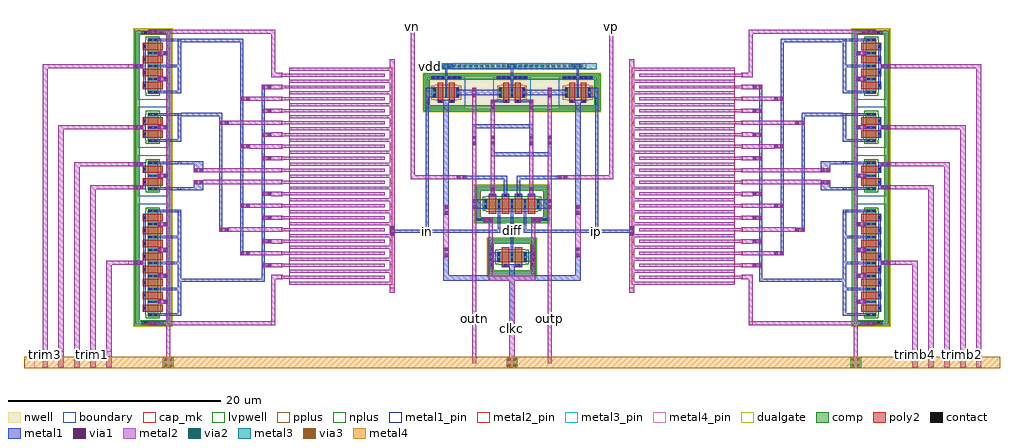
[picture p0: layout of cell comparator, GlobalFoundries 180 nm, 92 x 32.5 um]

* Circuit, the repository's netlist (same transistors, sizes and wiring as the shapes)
* NGSPICE file created from comparator.ext - technology: gf180mcuD

.subckt XMdiff_cmp G D S a_n424_n324#
X0 S G D a_n424_n324# nfet_06v0 ad=0.44p pd=2.88u as=0.26p ps=1.52u w=1u l=0.7u
X1 D G S a_n424_n324# nfet_06v0 ad=0.26p pd=1.52u as=0.44p ps=2.88u w=1u l=0.7u
.ends

.subckt XM3_trims a_n2052_n100# a_n2668_n324# a_n1808_n100# a_n1948_n183# a_n1564_n100#
+ a_n2524_n100# a_n1704_n183# a_n2296_n100# a_n2192_n183# a_n2436_n183#
X0 a_n2052_n100# a_n2192_n183# a_n2296_n100# a_n2668_n324# nfet_06v0 ad=0.26p pd=1.52u as=0.26p ps=1.52u w=1u l=0.7u
X1 a_n1564_n100# a_n1704_n183# a_n1808_n100# a_n2668_n324# nfet_06v0 ad=0.44p pd=2.88u as=0.26p ps=1.52u w=1u l=0.7u
X2 a_n1808_n100# a_n1948_n183# a_n2052_n100# a_n2668_n324# nfet_06v0 ad=0.26p pd=1.52u as=0.26p ps=1.52u w=1u l=0.7u
X3 a_n2296_n100# a_n2436_n183# a_n2524_n100# a_n2668_n324# nfet_06v0 ad=0.26p pd=1.52u as=0.44p ps=2.88u w=1u l=0.7u
.ends

.subckt XM2_trims a_n4456_n324# a_n3948_n183# a_n3808_n100# a_n4280_n100# a_n4052_n100#
+ a_n4192_n183# a_n4456_252#
X0 a_n4052_n100# a_n4192_n183# a_n4280_n100# a_n4456_n324# nfet_06v0 ad=0.26p pd=1.52u as=0.44p ps=2.88u w=1u l=0.7u
X1 a_n3808_n100# a_n3948_n183# a_n4052_n100# a_n4456_n324# nfet_06v0 ad=0.44p pd=2.88u as=0.26p ps=1.52u w=1u l=0.7u
.ends

.subckt XM1_trims G D a_n5302_n324# S a_n5302_252#
X0 D G S a_n5302_n324# nfet_06v0 ad=0.44p pd=2.88u as=0.44p ps=2.88u w=1u l=0.7u
.ends

.subckt XM4_trims a_436_n100# a_192_n100# a_n1188_n324# a_n296_n100# a_784_n183# a_n192_n183#
+ a_n436_n183# a_540_n183# a_n52_n100# a_924_n100# a_680_n100# a_n1012_n100# a_n784_n100#
+ a_n924_n183# a_n680_n183# a_n540_n100# a_296_n183# a_52_n183#
X0 a_436_n100# a_296_n183# a_192_n100# a_n1188_n324# nfet_06v0 ad=0.26p pd=1.52u as=0.26p ps=1.52u w=1u l=0.7u
X1 a_n784_n100# a_n924_n183# a_n1012_n100# a_n1188_n324# nfet_06v0 ad=0.26p pd=1.52u as=0.44p ps=2.88u w=1u l=0.7u
X2 a_192_n100# a_52_n183# a_n52_n100# a_n1188_n324# nfet_06v0 ad=0.26p pd=1.52u as=0.26p ps=1.52u w=1u l=0.7u
X3 a_680_n100# a_540_n183# a_436_n100# a_n1188_n324# nfet_06v0 ad=0.26p pd=1.52u as=0.26p ps=1.52u w=1u l=0.7u
X4 a_924_n100# a_784_n183# a_680_n100# a_n1188_n324# nfet_06v0 ad=0.44p pd=2.88u as=0.26p ps=1.52u w=1u l=0.7u
X5 a_n52_n100# a_n192_n183# a_n296_n100# a_n1188_n324# nfet_06v0 ad=0.26p pd=1.52u as=0.26p ps=1.52u w=1u l=0.7u
X6 a_n296_n100# a_n436_n183# a_n540_n100# a_n1188_n324# nfet_06v0 ad=0.26p pd=1.52u as=0.26p ps=1.52u w=1u l=0.7u
X7 a_n540_n100# a_n680_n183# a_n784_n100# a_n1188_n324# nfet_06v0 ad=0.26p pd=1.52u as=0.26p ps=1.52u w=1u l=0.7u
.ends

.subckt XM0_trims G D a_n5334_252# a_n5334_n324# S
X0 S G D a_n5334_n324# nfet_06v0 ad=0.44p pd=2.88u as=0.44p ps=2.88u w=1u l=0.7u
.ends

.subckt trim_switch d_0 d_4 d_1 d_2 d_3 n1 n4 n0 n2 n3 temp
XXM3_trims_0 n3 temp temp d_3 n3 n3 d_3 temp d_3 d_3 XM3_trims
XXM2_trims_0 temp d_2 n2 n2 temp d_2 temp XM2_trims
XXM1_trims_0 d_1 n1 temp temp temp XM1_trims
XXM4_trims_0 n4 temp temp temp d_4 d_4 d_4 d_4 n4 n4 temp n4 temp d_4 d_4 n4 d_4 d_4
+ XM4_trims
XXM0_trims_0 d_0 n0 temp temp temp XM0_trims
.ends

.subckt trim d_0 d_4 d_1 d_2 d_3 n1 n4 n0 n2 n3 drain vss
Xtrim_switch_0 d_0 d_4 d_1 d_2 d_3 n1 n4 n0 n2 n3 vss trim_switch
.ends

.subckt XMinp_cmp G D a_n302_n324# a_n302_252# S
X0 D G S a_n302_n324# nfet_06v0 ad=0.44p pd=2.88u as=0.44p ps=2.88u w=1u l=0.7u
.ends

.subckt XM4_cmp G D w_n319_n356# S
X0 D G S w_n319_n356# pfet_06v0 ad=0.44p pd=2.88u as=0.44p ps=2.88u w=1u l=0.55u
.ends

.subckt XMl4_cmp G D w_n319_n356# S
X0 D G S w_n319_n356# pfet_06v0 ad=0.44p pd=2.88u as=0.44p ps=2.88u w=1u l=0.55u
.ends

.subckt XMinn_cmp G D a_n302_n324# a_n302_252# S
X0 D G S a_n302_n324# nfet_06v0 ad=0.44p pd=2.88u as=0.44p ps=2.88u w=1u l=0.7u
.ends

.subckt XMl3_cmp G D w_n319_n356# S
X0 D G S w_n319_n356# pfet_06v0 ad=0.44p pd=2.88u as=0.44p ps=2.88u w=1u l=0.55u
.ends

.subckt XM3_cmp G D w_n319_n356# S
X0 D G S w_n319_n356# pfet_06v0 ad=0.44p pd=2.88u as=0.44p ps=2.88u w=1u l=0.55u
.ends

.subckt XMl2_cmp G D a_n302_n324# S
X0 D G S a_n302_n324# nfet_06v0 ad=0.44p pd=2.88u as=0.44p ps=2.88u w=1u l=0.7u
.ends

.subckt XM2_cmp G D w_n319_n356# S
X0 D G S w_n319_n356# pfet_06v0 ad=0.44p pd=2.88u as=0.44p ps=2.88u w=1u l=0.55u
.ends

.subckt XM1_cmp G D w_n319_n356# S
X0 D G S w_n319_n356# pfet_06v0 ad=0.44p pd=2.88u as=0.44p ps=2.88u w=1u l=0.55u
.ends

.subckt XMl1_cmp G D a_n302_n324# S
X0 D G S a_n302_n324# nfet_06v0 ad=0.44p pd=2.88u as=0.44p ps=2.88u w=1u l=0.7u
.ends

.subckt comparator trim1 trim0 trim2 trim3 trim4 trimb4 trimb1 trimb0 trimb2 trimb3
+ vp vn outp outn diff in ip clkc vss vdd
XXMdiff_cmp_0 clkc diff vss vss XMdiff_cmp
Xtrim_0 trimb0 trimb4 trimb1 trimb2 trimb3 trim_0/n1 trim_0/n4 trim_0/n0 trim_0/n2
+ trim_0/n3 ip vss trim
Xtrim_1 trim0 trim4 trim1 trim2 trim3 trim_1/n1 trim_1/n4 trim_1/n0 trim_1/n2 trim_1/n3
+ in vss trim
XXMinp_cmp_0 vp ip vss vss diff XMinp_cmp
XXM4_cmp_0 clkc ip vdd vdd XM4_cmp
XXMl4_cmp_0 outn outp vdd vdd XMl4_cmp
XXMinn_cmp_0 vn in vss vss diff XMinn_cmp
XXMl3_cmp_0 outp outn vdd vdd XMl3_cmp
XXM3_cmp_0 clkc outp vdd vdd XM3_cmp
XXMl2_cmp_0 outn outp vss ip XMl2_cmp
XXM2_cmp_0 clkc outn vdd vdd XM2_cmp
XXM1_cmp_0 clkc in vdd vdd XM1_cmp
XXMl1_cmp_0 outp outn vss in XMl1_cmp
.ends

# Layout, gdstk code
from math import pi, radians
import gdstk
lib = gdstk.Library(unit=1e-6, precision=1e-09)
def R(c, l, rs):  # rectangles x0, y0, x1, y1
    for r in rs: c.add(gdstk.rectangle(r[:2], r[2:], *l))
def A(c, l, x, y, w, h, nx, ny, dx, dy):  # array of equal rectangles
    R(c, l, [(x+i*dx, y+j*dy, x+i*dx+w, y+j*dy+h) for i in range(nx) for j in range(ny)])
boundary = (0, 0)
nwell = (21, 0)
comp = (22, 0)
poly2 = (30, 0)
pplus = (31, 0)
nplus = (32, 0)
contact = (33, 0)
metal1 = (34, 0)
metal1_pin = (34, 10)
via1 = (35, 0)
metal2 = (36, 0)
metal2_pin = (36, 10)
via2 = (38, 0)
via3 = (40, 0)
metal3 = (42, 0)
metal3_pin = (42, 10)
metal4 = (46, 0)
metal4_pin = (46, 10)
dualgate = (55, 0)
cap_mk = (117, 5)
lvpwell = (204, 0)

xmdiff_cmp = lib.new_cell('XMdiff_cmp')
R(xmdiff_cmp, boundary, [(-1.94,-1.44,1.94,1.44)])
R(xmdiff_cmp, comp, [(-2.12,-1.62,2.12,-1.26), (-2.12,-1.26,-1.76,1.26), (1.76,-1.26,2.12,1.26), (-1.4,-0.5,1.4,0.5), (-2.12,1.26,2.12,1.62)])
R(xmdiff_cmp, poly2, [(-0.96,-0.915,-0.26,0.96), (0.26,-0.915,0.96,0.96)])
R(xmdiff_cmp, pplus, [(-2.14,-1.64,2.14,-1.24), (-2.14,-1.24,-1.73,-1.135), (1.73,-1.24,2.14,-1.135), (-2.15,-1.135,-1.73,1.135), (1.73,-1.135,2.15,1.135), (-2.14,1.135,-1.73,1.24), (1.73,1.135,2.14,1.24), (-2.14,1.24,2.14,1.64)])
R(xmdiff_cmp, nplus, [(-1.19,-0.73,1.19,-0.66), (-1.56,-0.66,1.56,0.66), (-1.19,0.66,1.19,0.73)])
A(xmdiff_cmp, contact, -2.05, -0.815, 0.22, 0.22, 1, 4, 0, 0.47)
A(xmdiff_cmp, contact, 1.83, -0.815, 0.22, 0.22, 1, 4, 0, 0.47)
A(xmdiff_cmp, contact, -1.33, -0.345, 0.22, 0.22, 3, 2, 1.22, 0.47)
R(xmdiff_cmp, contact, [(-0.72,0.67,-0.5,0.89), (0.5,0.67,0.72,0.89)])
A(xmdiff_cmp, metal1, -1.335, -0.435, 0.23, 0.87, 3, 1, 1.22, 0)
R(xmdiff_cmp, metal1, [(-2.055,-1.04,-1.825,1.04), (1.825,-1.04,2.055,1.04), (-0.95,0.665,-0.27,0.895), (-0.95,0.665,0.95,0.895), (0.27,0.665,0.95,0.895)])
R(xmdiff_cmp, dualgate, [(-2.36,-1.86,2.36,1.86)])
R(xmdiff_cmp, lvpwell, [(-2.28,-1.78,2.28,1.78)])
xmdiff_cmp.add(gdstk.Label('G', (0,0.77), layer=34, texttype=10))
xmdiff_cmp.add(gdstk.Label('D', (-0.005,0), layer=34, texttype=10))
xmdiff_cmp.add(gdstk.Label('S', (-1.22,0.015), layer=34, texttype=10))
xmdiff_cmp.add(gdstk.Label('S', (1.22,-0.005), layer=34, texttype=10))

xml1_cmp = lib.new_cell('XMl1_cmp')
R(xml1_cmp, boundary, [(-1.33,-1.44,1.33,1.44)])
R(xml1_cmp, comp, [(-1.51,-1.62,1.51,-1.26), (1.15,-1.26,1.51,1.26), (-0.79,-0.5,0.79,0.5), (-1.51,1.26,1.51,1.62)])
R(xml1_cmp, poly2, [(-0.35,-0.915,0.35,0.96)])
R(xml1_cmp, pplus, [(-1.025,-1.65,1.025,-1.64), (-1.53,-1.64,1.53,-1.23), (1.13,-1.23,1.53,1.24), (-1.53,1.24,1.53,1.64)])
R(xml1_cmp, nplus, [(-0.61,-0.73,0.58,-0.66), (-0.95,-0.66,0.95,0.66), (-0.61,0.66,0.58,0.73)])
A(xml1_cmp, contact, 0.225, -1.55, 0.22, 0.22, 3, 1, 0.47, 0)
R(xml1_cmp, contact, [(-0.72,-0.345,-0.5,-0.125), (0.5,-0.345,0.72,-0.125), (-0.72,0.125,-0.5,0.345), (0.5,0.125,0.72,0.345), (-0.11,0.67,0.11,0.89)])
R(xml1_cmp, metal1, [(0,-1.555,1.5,-1.325), (-0.725,-0.435,-0.495,0.435), (0.495,-0.435,0.725,0.435), (-0.34,0.665,0.34,0.895)])
R(xml1_cmp, dualgate, [(-1.75,-1.86,1.75,1.86)])
R(xml1_cmp, lvpwell, [(-1.67,-1.78,1.67,1.78)])
xml1_cmp.add(gdstk.Label('D', (0.6,0), layer=34, texttype=0))
xml1_cmp.add(gdstk.Label('S', (-0.6,0), layer=34, texttype=0))
xml1_cmp.add(gdstk.Label('G', (0,0), layer=30, texttype=10))

xminn_cmp = lib.new_cell('XMinn_cmp')
R(xminn_cmp, boundary, [(-1.33,-1.44,1.33,1.44)])
R(xminn_cmp, comp, [(-1.51,-1.62,1.51,-1.26), (-0.79,-0.5,0.79,0.5), (-1.51,1.26,1.51,1.62)])
R(xminn_cmp, poly2, [(-0.35,-0.915,0.35,0.96)])
R(xminn_cmp, pplus, [(-1.025,-1.65,1.025,-1.64), (-1.53,-1.64,1.53,-1.23), (-1.53,1.24,1.53,1.64)])
R(xminn_cmp, nplus, [(-0.61,-0.73,0.61,-0.66), (-0.95,-0.66,0.95,0.66), (-0.61,0.66,0.61,0.73)])
R(xminn_cmp, contact, [(-0.72,-0.345,-0.5,-0.125), (0.5,-0.345,0.72,-0.125), (-0.72,0.125,-0.5,0.345), (0.5,0.125,0.72,0.345), (-0.11,0.67,0.11,0.89)])
R(xminn_cmp, metal1, [(-0.725,-0.435,-0.495,0.435), (0.495,-0.435,0.725,0.435), (-0.34,0.665,0.34,0.895)])
R(xminn_cmp, dualgate, [(-1.75,-1.86,1.75,1.86)])
R(xminn_cmp, lvpwell, [(-1.67,-1.78,1.67,1.78)])
xminn_cmp.add(gdstk.Label('D', (0.6,0), layer=34, texttype=0))
xminn_cmp.add(gdstk.Label('S', (-0.6,0), layer=34, texttype=0))
xminn_cmp.add(gdstk.Label('G', (0,0), layer=30, texttype=10))

xminp_cmp = lib.new_cell('XMinp_cmp')
R(xminp_cmp, boundary, [(-1.33,-1.44,1.33,1.44)])
R(xminp_cmp, comp, [(-1.51,-1.62,1.51,-1.26), (-0.79,-0.5,0.79,0.5), (-1.51,1.26,1.51,1.62)])
R(xminp_cmp, poly2, [(-0.35,-0.915,0.35,0.96)])
R(xminp_cmp, pplus, [(-1.025,-1.65,1.025,-1.64), (-1.53,-1.64,1.53,-1.23), (-1.53,1.24,1.53,1.64)])
R(xminp_cmp, nplus, [(-0.61,-0.73,0.61,-0.66), (-0.95,-0.66,0.95,0.66), (-0.61,0.66,0.61,0.73)])
R(xminp_cmp, contact, [(-0.72,-0.345,-0.5,-0.125), (0.5,-0.345,0.72,-0.125), (-0.72,0.125,-0.5,0.345), (0.5,0.125,0.72,0.345), (-0.11,0.67,0.11,0.89)])
R(xminp_cmp, metal1, [(-0.725,-0.435,-0.495,0.435), (0.495,-0.435,0.725,0.435), (-0.34,0.665,0.34,0.895)])
R(xminp_cmp, dualgate, [(-1.75,-1.86,1.75,1.86)])
R(xminp_cmp, lvpwell, [(-1.67,-1.78,1.67,1.78)])
xminp_cmp.add(gdstk.Label('D', (0.6,0), layer=34, texttype=0))
xminp_cmp.add(gdstk.Label('S', (-0.6,0), layer=34, texttype=0))
xminp_cmp.add(gdstk.Label('G', (0,0), layer=30, texttype=10))

xml2_cmp = lib.new_cell('XMl2_cmp')
R(xml2_cmp, boundary, [(-1.33,-1.44,1.33,1.44)])
R(xml2_cmp, comp, [(-1.51,-1.62,1.51,-1.26), (1.15,-1.26,1.51,1.26), (-0.79,-0.5,0.79,0.5), (-1.51,1.26,1.51,1.62)])
R(xml2_cmp, poly2, [(-0.35,-0.915,0.35,0.96)])
R(xml2_cmp, pplus, [(-1.025,-1.65,1.025,-1.64), (-1.53,-1.64,1.53,-1.23), (1.13,-1.23,1.53,1.24), (-1.53,1.24,1.53,1.64)])
R(xml2_cmp, nplus, [(-0.61,-0.73,0.58,-0.66), (-0.95,-0.66,0.95,0.66), (-0.61,0.66,0.58,0.73)])
A(xml2_cmp, contact, 0.225, -1.55, 0.22, 0.22, 3, 1, 0.47, 0)
R(xml2_cmp, contact, [(-0.72,-0.345,-0.5,-0.125), (0.5,-0.345,0.72,-0.125), (-0.72,0.125,-0.5,0.345), (0.5,0.125,0.72,0.345), (-0.11,0.67,0.11,0.89)])
R(xml2_cmp, metal1, [(0,-1.555,1.5,-1.325), (-0.725,-0.435,-0.495,0.435), (0.495,-0.435,0.725,0.435), (-0.34,0.665,0.34,0.895)])
R(xml2_cmp, dualgate, [(-1.75,-1.86,1.75,1.86)])
R(xml2_cmp, lvpwell, [(-1.67,-1.78,1.67,1.78)])
xml2_cmp.add(gdstk.Label('D', (0.6,0), layer=34, texttype=0))
xml2_cmp.add(gdstk.Label('S', (-0.6,0), layer=34, texttype=0))
xml2_cmp.add(gdstk.Label('G', (0,0), layer=30, texttype=10))

xml3_cmp = lib.new_cell('XMl3_cmp')
R(xml3_cmp, boundary, [(-1.255,-1.44,1.255,1.44)])
R(xml3_cmp, nwell, [(-1.595,-1.78,3.125,1.78)])
R(xml3_cmp, comp, [(-1.435,-1.62,2.965,-1.26), (-0.715,-0.5,0.715,0.5), (-1.435,1.26,2.965,1.62)])
R(xml3_cmp, poly2, [(-0.275,-0.915,0.275,0.96)])
R(xml3_cmp, pplus, [(-0.535,-0.73,0.505,-0.66), (-0.875,-0.66,0.875,0.66), (-0.535,0.66,0.505,0.73)])
R(xml3_cmp, nplus, [(-1.595,-1.78,3.125,-1.19), (-1.595,1.19,3.125,1.78)])
A(xml3_cmp, contact, -0.345, -1.55, 0.22, 0.22, 3, 1, 0.47, 0)
R(xml3_cmp, contact, [(-0.645,-0.345,-0.425,-0.125), (0.425,-0.345,0.645,-0.125), (-0.645,0.125,-0.425,0.345), (0.425,0.125,0.645,0.345), (-0.11,0.67,0.11,0.89)])
R(xml3_cmp, metal1, [(-0.9,-1.555,0.9,-1.325), (-0.65,-0.435,-0.42,0.435), (0.42,-0.435,0.65,0.435), (-0.265,0.665,0.265,0.895)])
R(xml3_cmp, dualgate, [(-1.675,-1.86,3.205,1.86)])
xml3_cmp.add(gdstk.Label('D', (0.6,0), layer=34, texttype=0))
xml3_cmp.add(gdstk.Label('S', (-0.6,0), layer=34, texttype=0))
xml3_cmp.add(gdstk.Label('G', (0,0), layer=30, texttype=10))

xm3_cmp = lib.new_cell('XM3_cmp')
R(xm3_cmp, boundary, [(-1.255,-1.44,1.255,1.44)])
R(xm3_cmp, nwell, [(-1.595,-1.78,3.125,1.78)])
R(xm3_cmp, comp, [(-1.435,-1.62,2.965,-1.26), (-0.715,-0.5,0.715,0.5), (-1.435,1.26,2.965,1.62)])
R(xm3_cmp, poly2, [(-0.275,-0.915,0.275,0.96)])
R(xm3_cmp, pplus, [(-0.535,-0.73,0.505,-0.66), (-0.875,-0.66,0.875,0.66), (-0.535,0.66,0.505,0.73)])
R(xm3_cmp, nplus, [(-1.595,-1.78,3.125,-1.19), (-1.595,1.19,3.125,1.78)])
A(xm3_cmp, contact, -0.345, -1.55, 0.22, 0.22, 3, 1, 0.47, 0)
R(xm3_cmp, contact, [(-0.645,-0.345,-0.425,-0.125), (0.425,-0.345,0.645,-0.125), (-0.645,0.125,-0.425,0.345), (0.425,0.125,0.645,0.345), (-0.11,0.67,0.11,0.89)])
R(xm3_cmp, metal1, [(-0.9,-1.555,0.9,-1.325), (-0.65,-0.435,-0.42,0.435), (0.42,-0.435,0.65,0.435), (-0.265,0.665,0.265,0.895)])
R(xm3_cmp, dualgate, [(-1.675,-1.86,3.205,1.86)])
xm3_cmp.add(gdstk.Label('D', (0.6,0), layer=34, texttype=0))
xm3_cmp.add(gdstk.Label('S', (-0.6,0), layer=34, texttype=0))
xm3_cmp.add(gdstk.Label('G', (0,0), layer=30, texttype=10))

xm4_cmp = lib.new_cell('XM4_cmp')
R(xm4_cmp, boundary, [(-1.255,-1.44,1.255,1.44)])
R(xm4_cmp, nwell, [(-1.595,-1.78,1.595,1.78)])
R(xm4_cmp, comp, [(-1.435,-1.62,1.435,-1.26), (1.075,-1.26,1.435,1.26), (-0.715,-0.5,0.715,0.5), (-1.435,1.26,1.435,1.62)])
R(xm4_cmp, poly2, [(-0.275,-0.915,0.275,0.96)])
R(xm4_cmp, pplus, [(-0.535,-0.73,0.505,-0.66), (-0.875,-0.66,0.875,0.66), (-0.535,0.66,0.505,0.73)])
R(xm4_cmp, nplus, [(-1.595,-1.78,1.595,-1.19), (1.005,-1.19,1.595,1.19), (-1.595,1.19,1.595,1.78)])
A(xm4_cmp, contact, -0.345, -1.55, 0.22, 0.22, 3, 1, 0.47, 0)
R(xm4_cmp, contact, [(-0.645,-0.345,-0.425,-0.125), (0.425,-0.345,0.645,-0.125), (-0.645,0.125,-0.425,0.345), (0.425,0.125,0.645,0.345), (-0.11,0.67,0.11,0.89)])
R(xm4_cmp, metal1, [(-0.9,-1.555,0.9,-1.325), (-0.65,-0.435,-0.42,0.435), (0.42,-0.435,0.65,0.435), (-0.265,0.665,0.265,0.895)])
R(xm4_cmp, dualgate, [(-1.675,-1.86,1.675,1.86)])
xm4_cmp.add(gdstk.Label('D', (0.6,0), layer=34, texttype=0))
xm4_cmp.add(gdstk.Label('S', (-0.6,0), layer=34, texttype=0))
xm4_cmp.add(gdstk.Label('G', (0,0), layer=30, texttype=10))

xm1_cmp = lib.new_cell('XM1_cmp')
R(xm1_cmp, boundary, [(-1.255,-1.44,1.255,1.44)])
R(xm1_cmp, nwell, [(-1.595,-1.78,1.595,1.78)])
R(xm1_cmp, comp, [(-1.435,-1.62,1.435,-1.26), (1.075,-1.26,1.435,1.26), (-0.715,-0.5,0.715,0.5), (-1.435,1.26,1.435,1.62)])
R(xm1_cmp, poly2, [(-0.275,-0.915,0.275,0.96)])
R(xm1_cmp, pplus, [(-0.535,-0.73,0.505,-0.66), (-0.875,-0.66,0.875,0.66), (-0.535,0.66,0.505,0.73)])
R(xm1_cmp, nplus, [(-1.595,-1.78,1.595,-1.19), (1.005,-1.19,1.595,1.19), (-1.595,1.19,1.595,1.78)])
A(xm1_cmp, contact, -0.345, -1.55, 0.22, 0.22, 3, 1, 0.47, 0)
R(xm1_cmp, contact, [(-0.645,-0.345,-0.425,-0.125), (0.425,-0.345,0.645,-0.125), (-0.645,0.125,-0.425,0.345), (0.425,0.125,0.645,0.345), (-0.11,0.67,0.11,0.89)])
R(xm1_cmp, metal1, [(-0.9,-1.555,0.9,-1.325), (-0.65,-0.435,-0.42,0.435), (0.42,-0.435,0.65,0.435), (-0.265,0.665,0.265,0.895)])
R(xm1_cmp, dualgate, [(-1.675,-1.86,1.675,1.86)])
xm1_cmp.add(gdstk.Label('D', (0.6,0), layer=34, texttype=0))
xm1_cmp.add(gdstk.Label('S', (-0.6,0), layer=34, texttype=0))
xm1_cmp.add(gdstk.Label('G', (0,0), layer=30, texttype=10))

xm2_cmp = lib.new_cell('XM2_cmp')
R(xm2_cmp, boundary, [(-1.255,-1.44,1.255,1.44)])
R(xm2_cmp, nwell, [(-1.595,-1.78,3.125,1.78)])
R(xm2_cmp, comp, [(-1.435,-1.62,2.965,-1.26), (-0.715,-0.5,0.715,0.5), (-1.435,1.26,2.965,1.62)])
R(xm2_cmp, poly2, [(-0.275,-0.915,0.275,0.96)])
R(xm2_cmp, pplus, [(-0.535,-0.73,0.505,-0.66), (-0.875,-0.66,0.875,0.66), (-0.535,0.66,0.505,0.73)])
R(xm2_cmp, nplus, [(-1.595,-1.78,3.125,-1.19), (-1.595,1.19,3.125,1.78)])
A(xm2_cmp, contact, -0.345, -1.55, 0.22, 0.22, 3, 1, 0.47, 0)
R(xm2_cmp, contact, [(-0.645,-0.345,-0.425,-0.125), (0.425,-0.345,0.645,-0.125), (-0.645,0.125,-0.425,0.345), (0.425,0.125,0.645,0.345), (-0.11,0.67,0.11,0.89)])
R(xm2_cmp, metal1, [(-0.9,-1.555,0.9,-1.325), (-0.65,-0.435,-0.42,0.435), (0.42,-0.435,0.65,0.435), (-0.265,0.665,0.265,0.895)])
R(xm2_cmp, dualgate, [(-1.675,-1.86,3.205,1.86)])
xm2_cmp.add(gdstk.Label('D', (0.6,0), layer=34, texttype=0))
xm2_cmp.add(gdstk.Label('S', (-0.6,0), layer=34, texttype=0))
xm2_cmp.add(gdstk.Label('G', (0,0), layer=30, texttype=10))

xml4_cmp = lib.new_cell('XMl4_cmp')
R(xml4_cmp, boundary, [(-1.255,-1.44,1.255,1.44)])
R(xml4_cmp, nwell, [(-1.595,-1.78,3.125,1.78)])
R(xml4_cmp, comp, [(-1.435,-1.62,2.955,-1.26), (-0.715,-0.5,0.715,0.5), (-1.435,1.26,2.965,1.62)])
R(xml4_cmp, poly2, [(-0.275,-0.915,0.275,0.96)])
R(xml4_cmp, pplus, [(-0.535,-0.73,0.505,-0.66), (-0.875,-0.66,0.875,0.66), (-0.535,0.66,0.505,0.73)])
R(xml4_cmp, nplus, [(-1.595,-1.78,3.115,-1.19), (-1.595,1.19,3.125,1.78)])
A(xml4_cmp, contact, -0.345, -1.55, 0.22, 0.22, 3, 1, 0.47, 0)
R(xml4_cmp, contact, [(-0.645,-0.345,-0.425,-0.125), (0.425,-0.345,0.645,-0.125), (-0.645,0.125,-0.425,0.345), (0.425,0.125,0.645,0.345), (-0.11,0.67,0.11,0.89)])
R(xml4_cmp, metal1, [(-0.9,-1.555,0.9,-1.325), (-0.65,-0.435,-0.42,0.435), (0.42,-0.435,0.65,0.435), (-0.265,0.665,0.265,0.895)])
R(xml4_cmp, dualgate, [(-1.675,-1.86,3.205,1.86)])
xml4_cmp.add(gdstk.Label('D', (0.6,0), layer=34, texttype=0))
xml4_cmp.add(gdstk.Label('S', (-0.6,0), layer=34, texttype=0))
xml4_cmp.add(gdstk.Label('G', (0,0), layer=30, texttype=10))

trim_cap = lib.new_cell('trim_cap')
R(trim_cap, metal2, [(2.1,-0.72,3.5,-0.44), (2.1,-0.44,2.38,9), (2.1,-0.44,2.38,9), (3.22,-0.44,3.5,9), (3.22,-0.44,3.5,9), (2.66,0,2.94,9.75)])
R(trim_cap, metal2_pin, [(2.66,-0.72,2.94,-0.62), (2.66,9.65,2.94,9.75)])
R(trim_cap, cap_mk, [(2.1,-0.72,3.5,9)])
trim_cap.add(gdstk.Label('in', (2.8,9.7), layer=36, texttype=10))
trim_cap.add(gdstk.Label('out', (2.8,-0.67), layer=36, texttype=10))

trim_cap_array = lib.new_cell('trim_cap_array')
trim_cap_array.add(gdstk.Reference(trim_cap, (0,0)))
trim_cap_array.add(gdstk.Reference(trim_cap, (1.12,0)))
trim_cap_array.add(gdstk.Reference(trim_cap, (2.24,0)))
trim_cap_array.add(gdstk.Reference(trim_cap, (3.36,0)))
trim_cap_array.add(gdstk.Reference(trim_cap, (4.48,0)))
trim_cap_array.add(gdstk.Reference(trim_cap, (5.6,0)))
trim_cap_array.add(gdstk.Reference(trim_cap, (6.72,0)))
trim_cap_array.add(gdstk.Reference(trim_cap, (7.84,0)))
trim_cap_array.add(gdstk.Reference(trim_cap, (8.96,0)))
trim_cap_array.add(gdstk.Reference(trim_cap, (10.08,0)))
trim_cap_array.add(gdstk.Reference(trim_cap, (11.2,0)))
trim_cap_array.add(gdstk.Reference(trim_cap, (12.32,0)))
trim_cap_array.add(gdstk.Reference(trim_cap, (13.44,0)))
trim_cap_array.add(gdstk.Reference(trim_cap, (14.56,0)))
trim_cap_array.add(gdstk.Reference(trim_cap, (15.68,0)))
trim_cap_array.add(gdstk.Reference(trim_cap, (16.8,0)))
trim_cap_array.add(gdstk.Reference(trim_cap, (17.92,0)))
trim_cap_array.add(gdstk.Reference(trim_cap, (19.04,0)))

xm1_trims = lib.new_cell('XM1_trims')
R(xm1_trims, boundary, [(-26.33,-1.44,-23.67,1.44)])
R(xm1_trims, comp, [(-26.51,-1.62,-23.33,-1.26), (-25.79,-0.5,-24.21,0.5), (-26.51,1.26,-23.33,1.62)])
R(xm1_trims, poly2, [(-25.35,-0.915,-24.65,0.96)])
R(xm1_trims, pplus, [(-26.53,-1.64,-23.31,-1.24), (-26.53,1.24,-23.31,1.64)])
R(xm1_trims, nplus, [(-25.61,-0.73,-24.42,-0.66), (-25.95,-0.66,-24.05,0.66), (-25.61,0.66,-24.42,0.73)])
R(xm1_trims, contact, [(-25.72,-0.345,-25.5,-0.125), (-24.5,-0.345,-24.28,-0.125), (-25.72,0.125,-25.5,0.345), (-24.5,0.125,-24.28,0.345), (-25.11,0.67,-24.89,0.89)])
R(xm1_trims, metal1, [(-25.725,-0.435,-25.495,0.435), (-24.505,-0.435,-24.275,0.435), (-25.34,0.665,-24.66,0.895)])
R(xm1_trims, dualgate, [(-26.75,-1.86,-23.25,1.86)])
R(xm1_trims, lvpwell, [(-26.67,-1.78,-23.33,1.78)])
xm1_trims.add(gdstk.Label('S', (-25.6,0), layer=34, texttype=0))
xm1_trims.add(gdstk.Label('D', (-24.4,0), layer=34, texttype=0))
xm1_trims.add(gdstk.Label('G', (-25,0), layer=30, texttype=10))

xm2_trims = lib.new_cell('XM2_trims')
R(xm2_trims, boundary, [(-21.94,-1.44,-18.06,1.44)])
R(xm2_trims, comp, [(-22.28,-1.62,-17.72,-1.26), (-21.4,-0.5,-18.6,0.5), (-22.28,1.26,-17.72,1.62)])
R(xm2_trims, poly2, [(-20.96,-0.915,-20.26,0.96), (-19.74,-0.915,-19.04,0.96)])
R(xm2_trims, pplus, [(-22.3,-1.64,-17.7,-1.24), (-22.3,1.24,-17.7,1.64)])
R(xm2_trims, nplus, [(-21.19,-0.73,-18.81,-0.66), (-21.56,-0.66,-18.44,0.66), (-21.19,0.66,-18.81,0.73)])
A(xm2_trims, contact, -21.33, -0.345, 0.22, 0.22, 3, 2, 1.22, 0.47)
R(xm2_trims, contact, [(-20.72,0.67,-20.5,0.89), (-19.5,0.67,-19.28,0.89)])
A(xm2_trims, metal1, -21.335, -0.435, 0.23, 0.87, 3, 1, 1.22, 0)
R(xm2_trims, metal1, [(-20.95,0.665,-20.27,0.895), (-19.73,0.665,-19.05,0.895)])
R(xm2_trims, dualgate, [(-22.36,-1.86,-17.64,1.86)])
R(xm2_trims, lvpwell, [(-22.28,-1.78,-17.72,1.78)])

xm3_trims = lib.new_cell('XM3_trims')
R(xm3_trims, boundary, [(-13.16,-1.44,-6.84,1.44)])
R(xm3_trims, comp, [(-13.34,-1.62,-6.5,-1.26), (-13.34,-1.26,-12.98,1.26), (-12.62,-0.5,-7.38,0.5), (-13.34,1.26,-6.5,1.62)])
A(xm3_trims, poly2, -12.18, -0.915, 0.7, 1.875, 4, 1, 1.22, 0)
R(xm3_trims, pplus, [(-13.36,-1.64,-6.425,-1.24), (-13.36,-1.24,-12.95,-1.135), (-13.37,-1.135,-12.95,1.135), (-13.36,1.135,-12.95,1.24), (-13.36,1.24,-6.48,1.64)])
R(xm3_trims, nplus, [(-12.41,-0.73,-7.59,-0.66), (-12.78,-0.66,-7.22,0.66), (-12.41,0.66,-7.59,0.73)])
A(xm3_trims, contact, -13.27, -0.815, 0.22, 0.22, 1, 4, 0, 0.47)
A(xm3_trims, contact, -12.55, -0.345, 0.22, 0.22, 5, 2, 1.22, 0.47)
A(xm3_trims, contact, -11.94, 0.67, 0.22, 0.22, 4, 1, 1.22, 0)
A(xm3_trims, metal1, -12.555, -0.435, 0.23, 0.87, 5, 1, 1.22, 0)
A(xm3_trims, metal1, -12.17, 0.665, 0.68, 0.23, 4, 1, 1.22, 0)
R(xm3_trims, metal1, [(-13.275,-1.04,-13.045,1.04)])
R(xm3_trims, dualgate, [(-13.58,-1.86,-6.42,1.86)])
R(xm3_trims, lvpwell, [(-13.5,-1.78,-6.5,1.78)])

xm4_trims = lib.new_cell('XM4_trims')
R(xm4_trims, boundary, [(-5.6,-1.44,5.6,1.44)])
R(xm4_trims, comp, [(-5.94,-1.62,5.78,-1.26), (5.42,-1.26,5.78,1.26), (-5.06,-0.5,5.06,0.5), (-5.94,1.26,5.78,1.62)])
A(xm4_trims, poly2, -4.62, -0.915, 0.7, 1.875, 8, 1, 1.22, 0)
R(xm4_trims, pplus, [(-5.96,-1.64,5.8,-1.24), (5.39,-1.24,5.8,-1.135), (5.39,-1.135,5.81,1.135), (5.39,1.135,5.8,1.24), (-5.96,1.24,5.8,1.64)])
R(xm4_trims, nplus, [(-4.85,-0.73,4.85,-0.66), (-5.22,-0.66,5.22,0.66), (-4.85,0.66,4.85,0.73)])
A(xm4_trims, contact, 5.49, -0.815, 0.22, 0.22, 1, 4, 0, 0.47)
A(xm4_trims, contact, -4.99, -0.345, 0.22, 0.22, 9, 2, 1.22, 0.47)
A(xm4_trims, contact, -4.38, 0.67, 0.22, 0.22, 8, 1, 1.22, 0)
A(xm4_trims, metal1, -4.995, -0.435, 0.23, 0.87, 9, 1, 1.22, 0)
A(xm4_trims, metal1, -4.61, 0.665, 0.68, 0.23, 8, 1, 1.22, 0)
R(xm4_trims, metal1, [(5.485,-1.04,5.715,1.04)])
R(xm4_trims, dualgate, [(-6.02,-1.86,6.02,1.86)])
R(xm4_trims, lvpwell, [(-5.94,-1.78,5.94,1.78)])

xm0_trims = lib.new_cell('XM0_trims')
R(xm0_trims, boundary, [(-26.33,-1.44,-23.67,1.44)])
R(xm0_trims, comp, [(-26.67,-1.62,-23.49,-1.26), (-25.79,-0.5,-24.21,0.5), (-26.67,1.26,-23.49,1.62)])
R(xm0_trims, poly2, [(-25.35,-0.915,-24.65,0.96)])
R(xm0_trims, pplus, [(-26.69,-1.64,-23.47,-1.24), (-26.69,1.24,-23.47,1.64)])
R(xm0_trims, nplus, [(-25.58,-0.73,-24.39,-0.66), (-25.95,-0.66,-24.05,0.66), (-25.58,0.66,-24.39,0.73)])
R(xm0_trims, contact, [(-25.72,-0.345,-25.5,-0.125), (-24.5,-0.345,-24.28,-0.125), (-25.72,0.125,-25.5,0.345), (-24.5,0.125,-24.28,0.345), (-25.11,0.67,-24.89,0.89)])
R(xm0_trims, metal1, [(-25.725,-0.435,-25.495,0.435), (-24.505,-0.435,-24.275,0.435), (-25.34,0.665,-24.66,0.895)])
R(xm0_trims, dualgate, [(-26.75,-1.86,-23.25,1.86)])
R(xm0_trims, lvpwell, [(-26.67,-1.78,-23.33,1.78)])
xm0_trims.add(gdstk.Label('S', (-24.4,0), layer=34, texttype=0))
xm0_trims.add(gdstk.Label('D', (-25.6,0), layer=34, texttype=0))
xm0_trims.add(gdstk.Label('G', (-25,0), layer=30, texttype=10))

trim_switch = lib.new_cell('trim_switch')
A(trim_switch, metal1, -15.23, -5, 0.23, 3.115, 3, 1, 2.44, 0)
A(trim_switch, metal1, 0.89, -5, 0.23, 3.115, 5, 1, 2.44, 0)
A(trim_switch, metal1, -11.645, -3.655, 0.38, 0.9, 4, 1, 4.56, 0)
A(trim_switch, metal1, 4.475, -3.655, 0.38, 0.9, 3, 1, 2.44, 0)
R(trim_switch, metal1, [(-15.23,-5,-10.12,-4.67), (-8.23,-5,-5.56,-4.67), (-8.23,-5,-8,-1.885), (-5.79,-5,-5.56,-1.885), (-3.67,-5,-3.44,-1.885), (-1.23,-5,-1,-1.885), (0.89,-5,10.88,-4.67), (-14.085,-3.655,-13.705,-2.755), (-16.1,-2.77,-15.72,-1.87), (11.37,-2.77,11.75,-1.87), (-2.45,-2.755,-2.22,-1.885), (-14.845,-1.655,-10.505,-1.425), (-7.845,-1.655,-5.945,-1.425), (-3.605,-1.655,-2.605,-1.425), (-2.065,-1.655,-1.065,-1.425), (1.275,-1.655,10.495,-1.425), (-12.865,-1.425,-12.485,-0.525), (-7.085,-1.425,-6.705,-0.525), (-3.605,-1.425,-3.225,-0.525), (-1.445,-1.425,-1.065,-0.525), (5.695,-1.425,6.075,-0.525)])
R(trim_switch, metal1_pin, [(-15.23,-5,-15,-4.67), (-8.23,-5,-8,-4.67), (-3.67,-5,-3.44,-4.67), (-1.23,-5,-1,-4.67), (0.89,-5,1.12,-4.67)])
A(trim_switch, via1, -11.585, -3.595, 0.26, 0.26, 4, 2, 4.56, 0.52)
A(trim_switch, via1, 4.535, -3.595, 0.26, 0.26, 3, 2, 2.44, 0.52)
R(trim_switch, via1, [(-14.025,-3.595,-13.765,-3.335), (-14.025,-3.075,-13.765,-2.815), (-16.04,-2.71,-15.78,-2.45), (11.43,-2.71,11.69,-2.45), (-16.04,-2.19,-15.78,-1.93), (11.43,-2.19,11.69,-1.93), (-12.805,-1.365,-12.545,-1.105), (-7.025,-1.365,-6.765,-1.105), (-3.545,-1.365,-3.285,-1.105), (-1.385,-1.365,-1.125,-1.105), (5.755,-1.365,6.015,-1.105), (-12.805,-0.845,-12.545,-0.585), (-7.025,-0.845,-6.765,-0.585), (-3.545,-0.845,-3.285,-0.585), (-1.385,-0.845,-1.125,-0.585), (5.755,-0.845,6.015,-0.585)])
A(trim_switch, metal2, -11.645, -3.655, 0.38, 0.9, 4, 1, 4.56, 0)
A(trim_switch, metal2, 4.475, -3.655, 0.38, 0.9, 3, 1, 2.44, 0)
R(trim_switch, metal2, [(-16.1,-5,-15.72,-1.87), (11.37,-5,11.75,-1.87), (-16.1,-3.96,-15.72,-1.87), (-16.1,-3.96,11.75,-3.56), (11.37,-3.96,11.75,-1.87), (-14.085,-3.655,-13.705,-2.755), (-16.1,-2.77,-15.72,-1.87), (11.37,-2.77,11.75,-1.87), (-12.865,-1.425,-12.485,0.505), (-12.865,-1.425,-12.485,-0.525), (-7.085,-1.425,-6.705,0.505), (-7.085,-1.425,-6.705,-0.525), (-3.605,-1.425,-3.225,0.505), (-3.605,-1.425,-3.225,-0.525), (-1.445,-1.425,-1.065,0.505), (-1.445,-1.425,-1.065,-0.525), (5.695,-1.425,6.075,0.505), (5.695,-1.425,6.075,-0.525)])
R(trim_switch, metal2_pin, [(-12.865,-0.505,-12.485,-0.005), (-7.085,-0.505,-6.705,-0.005), (-3.605,-0.505,-3.225,-0.005), (-1.445,-0.505,-1.065,-0.005), (5.695,-0.505,6.075,-0.005)])
trim_switch.add(gdstk.Reference(xm1_trims, (23.275,-2.32)))
trim_switch.add(gdstk.Reference(xm2_trims, (13.105,-2.32)))
trim_switch.add(gdstk.Reference(xm3_trims, (-2.675,-2.32)))
trim_switch.add(gdstk.Reference(xm4_trims, (5.885,-2.32)))
trim_switch.add(gdstk.Reference(xm0_trims, (22.055,-2.32)))
trim_switch.add(gdstk.Label('d_0', (-3.38,-0.205), layer=36, texttype=10))
trim_switch.add(gdstk.Label('d_4', (5.92,-0.205), layer=36, texttype=10))
trim_switch.add(gdstk.Label('d_1', (-1.22,-0.205), layer=36, texttype=10))
trim_switch.add(gdstk.Label('d_2', (-6.86,-0.205), layer=36, texttype=10))
trim_switch.add(gdstk.Label('d_3', (-12.64,-0.205), layer=36, texttype=10))
trim_switch.add(gdstk.Label('temp', (-2.335,-2.385), layer=34, texttype=10))
trim_switch.add(gdstk.Label('n1', (-1.08,-4.84), layer=34, texttype=10))
trim_switch.add(gdstk.Label('n4', (1.04,-4.84), layer=34, texttype=10))
trim_switch.add(gdstk.Label('n0', (-3.52,-4.84), layer=34, texttype=10))
trim_switch.add(gdstk.Label('n2', (-8.08,-4.84), layer=34, texttype=10))
trim_switch.add(gdstk.Label('n3', (-15.08,-4.84), layer=34, texttype=10))

trim = lib.new_cell('trim')
A(trim, metal1, -8.59, 6.21, 0.38, 0.9, 4, 1, 2.24, 0)
A(trim, metal1, -8.59, 6.21, 0.23, 0.87, 4, 1, 2.24, 0)
A(trim, metal1, 1.49, 6.21, 0.38, 0.9, 4, 1, 2.24, 0)
A(trim, metal1, 1.64, 6.21, 0.23, 0.87, 4, 1, 2.24, 0)
R(trim, metal1, [(-8.59,6.81,8.59,7.11), (8.59,6.81,9.98,7.11), (9.68,6.81,9.98,14.67), (-7.47,8.21,-7.09,9.11), (-7.47,8.21,-7.09,9.11), (-7.47,8.21,-7.24,9.08), (-7.47,8.21,-7.24,9.08), (-2.99,8.21,-2.61,9.11), (-2.99,8.21,-2.76,9.08), (2.61,8.21,2.99,9.11), (2.76,8.21,2.99,9.08), (7.09,8.21,7.47,9.11), (7.09,8.21,7.47,9.11), (7.24,8.21,7.47,9.08), (7.24,8.21,7.47,9.08), (-12.93,8.81,-12.63,14.67), (-12.75,8.81,-6,9.11), (-7.47,8.81,7.47,9.11), (-5.23,10.21,-4.85,11.11), (-5.23,10.21,-5,11.08), (4.85,10.21,5.23,11.11), (5,10.21,5.23,11.08), (-5.95,10.81,-4.85,11.11), (-5.95,10.81,-5.65,14.67), (-5.23,10.81,5.23,11.11), (-1.41,12.6,-1.11,15.675), (-1.41,12.6,-0.37,13.5), (-0.75,12.6,-0.37,13.5), (-0.75,12.6,-0.52,13.47), (0.37,12.6,0.75,13.5), (0.37,12.6,1.335,13.5), (0.52,12.6,0.75,13.47), (1.035,12.6,1.335,15.675)])
R(trim, metal1_pin, [(-12.93,14.67,-12.7,15), (-5.93,14.67,-5.7,15), (-1.37,14.67,-1.14,15), (1.07,14.67,1.3,15), (3.19,14.67,3.42,15)])
A(trim, via1, -8.53, 6.27, 0.26, 0.26, 4, 2, 2.24, 0.52)
A(trim, via1, 1.55, 6.27, 0.26, 0.26, 4, 2, 2.24, 0.52)
R(trim, via1, [(-7.41,8.27,-7.15,8.53), (-7.41,8.27,-7.15,8.53), (-2.93,8.27,-2.67,8.53), (2.67,8.27,2.93,8.53), (7.15,8.27,7.41,8.53), (7.15,8.27,7.41,8.53), (-7.41,8.79,-7.15,9.05), (-7.41,8.79,-7.15,9.05), (-2.93,8.79,-2.67,9.05), (2.67,8.79,2.93,9.05), (7.15,8.79,7.41,9.05), (7.15,8.79,7.41,9.05), (-5.17,10.27,-4.91,10.53), (4.91,10.27,5.17,10.53), (-5.17,10.79,-4.91,11.05), (4.91,10.79,5.17,11.05), (-0.69,12.66,-0.43,12.92), (0.43,12.66,0.69,12.92), (-0.69,13.18,-0.43,13.44), (0.43,13.18,0.69,13.44)])
A(trim, metal2, -8.6, 5.1, 0.4, 1.11, 4, 1, 2.24, 0)
A(trim, metal2, 1.48, 5.1, 0.4, 1.11, 4, 1, 2.24, 0)
A(trim, metal2, -8.59, 6.21, 0.38, 0.9, 4, 1, 2.24, 0)
A(trim, metal2, 1.49, 6.21, 0.38, 0.9, 4, 1, 2.24, 0)
R(trim, metal2, [(-11,-5.455,11,-4.955), (-9.72,5.1,-9.32,6.21), (-7.48,5.1,-7.08,8.21), (-5.24,5.1,-4.84,10.21), (-3,5.1,-2.6,8.21), (-0.76,5.1,-0.36,12.6), (0.36,5.1,0.76,12.6), (2.6,5.1,3,8.21), (4.84,5.1,5.24,10.21), (7.08,5.1,7.48,8.21), (9.32,5.1,9.72,6.21), (-13.805,5.81,-9.32,6.21), (-13.805,5.81,-13.415,17.665), (9.32,5.81,14.055,6.21), (13.665,5.81,14.055,17.665), (-7.47,8.21,-7.09,9.11), (-7.47,8.21,-7.09,9.11), (-2.99,8.21,-2.61,9.11), (2.61,8.21,2.99,9.11), (7.09,8.21,7.47,9.11), (7.09,8.21,7.47,9.11), (-5.23,10.21,-4.85,11.11), (4.85,10.21,5.23,11.11), (-0.75,12.6,-0.37,13.5), (0.37,12.6,0.75,13.5)])
R(trim, metal2_pin, [(10.5,-5.455,11,-4.955), (13.665,5.81,14.055,6.21), (-10.565,19.165,-10.185,19.665), (-4.785,19.165,-4.405,19.665), (-1.305,19.165,-0.925,19.665), (0.855,19.165,1.235,19.665), (7.995,19.165,8.375,19.665)])
trim.add(gdstk.Reference(trim_cap_array, (-12.32,-4.515)))
trim.add(gdstk.Reference(trim_switch, (2.3,19.67)))
trim.add(gdstk.Label('vss', (13.855,6.025), layer=36, texttype=10))
trim.add(gdstk.Label('d_0', (-1.08,19.465), layer=36, texttype=10))
trim.add(gdstk.Label('d_4', (8.22,19.465), layer=36, texttype=10))
trim.add(gdstk.Label('d_1', (1.08,19.465), layer=36, texttype=10))
trim.add(gdstk.Label('d_2', (-4.56,19.465), layer=36, texttype=10))
trim.add(gdstk.Label('d_3', (-10.34,19.465), layer=36, texttype=10))
trim.add(gdstk.Label('drain', (10.75,-5.25), layer=36, texttype=10))
trim.add(gdstk.Label('n1', (1.22,14.83), layer=34, texttype=10))
trim.add(gdstk.Label('n4', (3.34,14.83), layer=34, texttype=10))
trim.add(gdstk.Label('n0', (-1.22,14.83), layer=34, texttype=10))
trim.add(gdstk.Label('n2', (-5.78,14.83), layer=34, texttype=10))
trim.add(gdstk.Label('n3', (-12.78,14.83), layer=34, texttype=10))

comparator = lib.new_cell('comparator')
A(comparator, metal1, -6.315, 9.315, 0.23, 3.125, 3, 1, 6.2, 0)
A(comparator, metal1, -6.55, 12.06, 0.9, 0.38, 3, 1, 6.1, 0)
R(comparator, metal1, [(-0.26,-12.75,0.26,-6.415), (-6.46,-8.01,6.46,-7.49), (-6.46,-8.01,-5.94,-4.86), (5.94,-8.01,6.46,-4.86), (-0.95,-6.645,0.95,-6.415), (-2.205,-6.2,-1.825,-5.3), (1.825,-6.2,2.205,-5.3), (-2.055,-6.185,-1.105,-5.315), (-0.115,-6.185,0.115,-0.315), (1.105,-6.185,2.055,-5.315), (-6.385,-5.76,-6.005,-4.86), (6.015,-5.76,6.395,-4.86), (-11.485,-3.76,-11.105,-2.86), (11.105,-3.76,11.485,-2.86), (-11.105,-3.46,-1.105,-3.16), (-8.15,-3.46,-7.85,10.185), (-1.335,-3.46,-1.105,-0.875), (1.105,-3.46,1.335,-0.875), (1.105,-3.46,11.105,-3.16), (7.85,-3.46,8.15,10.185), (-2.725,-2.455,-1.825,-2.075), (1.825,-2.455,2.725,-2.075), (-6.46,-1.76,-5.94,9.085), (-6.39,-1.76,-6.01,-0.86), (5.94,-1.76,6.46,9.085), (6.01,-1.76,6.39,-0.86), (-3.74,-1.2,-3.36,-0.3), (3.36,-1.2,3.74,-0.3), (-3.74,-1.185,-2.325,-0.315), (2.325,-1.185,3.74,-0.315), (-2.02,-0.085,-1.64,0.815), (-0.78,-0.085,-0.44,1.9), (0.44,-0.085,0.78,1.9), (1.64,-0.085,2.02,0.815), (-5.21,1.56,-4.31,1.94), (4.31,1.56,5.21,1.94), (-5.21,1.6,-0.44,1.9), (0.44,1.6,5.21,1.9), (-2.02,3.75,-1.64,5.7), (-2.02,3.75,3.74,4.13), (3.36,3.75,3.74,5.7), (-3.74,4.8,-3.36,5.7), (-3.74,4.8,-3.36,6.75), (-2.02,4.8,-1.64,5.7), (1.64,4.8,2.02,5.7), (1.64,4.8,2.02,6.75), (3.36,4.8,3.74,5.7), (-3.74,6.37,2.02,6.75), (-2.02,8.185,-1.64,9.085), (1.64,8.185,2.02,9.085), (-7,8.855,-5.4,9.085), (-2.02,8.855,-0.27,9.085), (0.27,8.855,2.02,9.085), (5.4,8.855,7,9.085), (-3.74,9.3,-3.36,10.2), (3.36,9.3,3.74,10.2), (-8.15,9.315,-7.155,10.185), (7.155,9.315,8.15,10.185), (-5.245,9.5,-0.955,10), (0.955,9.5,5.245,10)])
R(comparator, metal1_pin, [(-0.26,-12.75,0.24,-12.25)])
R(comparator, via1, [(-2.145,-6.14,-1.885,-5.88), (1.885,-6.14,2.145,-5.88), (-6.325,-5.7,-6.065,-5.44), (6.075,-5.7,6.335,-5.44), (-2.145,-5.62,-1.885,-5.36), (1.885,-5.62,2.145,-5.36), (-6.325,-5.18,-6.065,-4.92), (6.075,-5.18,6.335,-4.92), (-11.425,-3.7,-11.165,-3.44), (11.165,-3.7,11.425,-3.44), (-11.425,-3.18,-11.165,-2.92), (11.165,-3.18,11.425,-2.92), (-2.665,-2.395,-2.405,-2.135), (-2.145,-2.395,-1.885,-2.135), (1.885,-2.395,2.145,-2.135), (2.405,-2.395,2.665,-2.135), (-6.33,-1.7,-6.07,-1.44), (6.07,-1.7,6.33,-1.44), (-6.33,-1.18,-6.07,-0.92), (6.07,-1.18,6.33,-0.92), (-3.68,-1.14,-3.42,-0.88), (3.42,-1.14,3.68,-0.88), (-3.68,-0.62,-3.42,-0.36), (3.42,-0.62,3.68,-0.36), (-1.96,-0.025,-1.7,0.235), (1.7,-0.025,1.96,0.235), (-1.96,0.495,-1.7,0.755), (1.7,0.495,1.96,0.755), (-5.15,1.62,-4.89,1.88), (-4.63,1.62,-4.37,1.88), (4.37,1.62,4.63,1.88), (4.89,1.62,5.15,1.88), (-3.68,4.86,-3.42,5.12), (-1.96,4.86,-1.7,5.12), (1.7,4.86,1.96,5.12), (3.42,4.86,3.68,5.12), (-3.68,5.38,-3.42,5.64), (-1.96,5.38,-1.7,5.64), (1.7,5.38,1.96,5.64), (3.42,5.38,3.68,5.64), (-1.96,8.245,-1.7,8.505), (1.7,8.245,1.96,8.505), (-1.96,8.765,-1.7,9.025), (1.7,8.765,1.96,9.025), (-3.68,9.36,-3.42,9.62), (3.42,9.36,3.68,9.62), (-3.68,9.88,-3.42,10.14), (3.42,9.88,3.68,10.14), (-6.49,12.12,-6.23,12.38), (-5.97,12.12,-5.71,12.38), (-0.39,12.12,-0.13,12.38), (0.13,12.12,0.39,12.38), (5.71,12.12,5.97,12.38), (6.23,12.12,6.49,12.38)])
A(comparator, metal2, -32.92, -16.25, 1.02, 0.56, 3, 2, 32.41, 0.56)
A(comparator, metal2, -6.55, 12.06, 0.9, 0.38, 3, 1, 6.1, 0)
R(comparator, metal2, [(-32.61,-16.25,-32.21,-7.445), (-0.26,-16.25,0.26,-7.49), (32.21,-16.25,32.61,-7.445), (-44.25,-16.13,-43.75,12.44), (-42.75,-16.13,-42.25,6.66), (-41.25,-16.13,-40.75,3.18), (-39.75,-16.13,-39.25,1.02), (-38.25,-16.13,-37.75,-6.12), (37.75,-16.13,38.25,-6.12), (39.25,-16.13,39.75,1.02), (40.75,-16.13,41.25,3.18), (42.25,-16.13,42.75,6.66), (43.75,-16.13,44.25,12.44), (-3.74,-15.75,-3.36,10.2), (3.36,-15.75,3.74,10.2), (-2.205,-8.01,-1.825,-2.075), (-2.205,-8.01,2.2,-7.49), (1.82,-8.01,2.2,-2.075), (-38.25,-6.5,-36.165,-6.12), (36.165,-6.5,38.25,-6.12), (-2.205,-6.2,-1.825,-5.3), (1.825,-6.2,2.205,-5.3), (-6.46,-5.76,-5.94,-0.86), (-6.385,-5.76,-6.005,-4.86), (5.94,-5.76,6.46,-0.86), (6.015,-5.76,6.395,-4.86), (-11.485,-3.76,-11.105,-2.86), (11.105,-3.76,11.485,-2.86), (-2.725,-2.455,-1.825,-2.075), (1.825,-2.455,2.725,-2.075), (-6.39,-1.76,-6.01,-0.86), (6.01,-1.76,6.39,-0.86), (-3.74,-1.2,-3.36,-0.3), (3.36,-1.2,3.74,-0.3), (-2.02,-0.085,-1.64,0.815), (-2.02,-0.085,-1.64,9.085), (1.64,-0.085,2.02,0.815), (1.64,-0.085,2.02,9.085), (-39.75,0.64,-36.23,1.02), (36.23,0.64,39.75,1.02), (-9.55,1.56,-9.15,16.25), (-9.55,1.56,-4.31,1.94), (-5.21,1.56,-4.31,1.94), (4.31,1.56,5.21,1.94), (4.31,1.56,9.55,1.94), (9.15,1.56,9.55,16.25), (-41.25,2.8,-36.165,3.18), (36.165,2.8,41.25,3.18), (-3.74,4.8,-3.36,5.7), (-2.02,4.8,-1.64,5.7), (1.64,4.8,2.02,5.7), (3.36,4.8,3.74,5.7), (-42.75,6.28,-36.165,6.66), (36.165,6.28,42.75,6.66), (-2.02,8.185,-1.64,9.085), (1.64,8.185,2.02,9.085), (-3.74,9.3,-3.36,10.2), (3.36,9.3,3.74,10.2), (-7,12,7,12.5), (-44.25,12.06,-36.165,12.44), (36.165,12.06,44.25,12.44)])
A(comparator, metal2_pin, -44.25, -15.13, 0.5, 0.5, 5, 1, 1.5, 0)
A(comparator, metal2_pin, 37.75, -15.13, 0.5, 0.5, 5, 1, 1.5, 0)
R(comparator, metal2_pin, [(-3.74,-11.75,-3.36,-11.25), (3.36,-11.75,3.74,-11.25), (-9.55,15.75,-9.15,16.25), (9.15,15.75,9.55,16.25)])
A(comparator, via2, -6.63, 12.12, 0.26, 0.26, 26, 1, 0.52, 0)
R(comparator, via2, [(-32.8,-16.1,-32.54,-15.84), (-32.28,-16.1,-32.02,-15.84), (-0.39,-16.1,-0.13,-15.84), (0.13,-16.1,0.39,-15.84), (32.02,-16.1,32.28,-15.84), (32.54,-16.1,32.8,-15.84), (-32.8,-15.54,-32.54,-15.28), (-32.28,-15.54,-32.02,-15.28), (-0.39,-15.54,-0.13,-15.28), (0.13,-15.54,0.39,-15.28), (32.02,-15.54,32.28,-15.28), (32.54,-15.54,32.8,-15.28)])
R(comparator, via3, [(-32.8,-16.1,-32.54,-15.84), (-32.28,-16.1,-32.02,-15.84), (-0.39,-16.1,-0.13,-15.84), (0.13,-16.1,0.39,-15.84), (32.02,-16.1,32.28,-15.84), (32.54,-16.1,32.8,-15.84), (-32.8,-15.54,-32.54,-15.28), (-32.28,-15.54,-32.02,-15.28), (-0.39,-15.54,-0.13,-15.28), (0.13,-15.54,0.39,-15.28), (32.02,-15.54,32.28,-15.28), (32.54,-15.54,32.8,-15.28)])
A(comparator, metal3, -32.92, -16.25, 1.02, 0.56, 3, 2, 32.41, 0.56)
A(comparator, metal3, -6.76, 11.97, 1.04, 0.56, 13, 1, 1.04, 0)
R(comparator, metal3, [(-8,11.97,8,12.53)])
R(comparator, metal3_pin, [(-7.9,11.97,-7.5,12.53)])
A(comparator, metal4, -32.92, -16.25, 1.02, 0.56, 3, 2, 32.41, 0.56)
R(comparator, metal4, [(-46,-16.25,46,-15.13)])
R(comparator, metal4_pin, [(-46,-16.25,-45,-15.13)])
comparator.add(gdstk.Reference(xmdiff_cmp, (0,-5.75), x_reflection=True))
comparator.add(gdstk.Reference(xml1_cmp, (-1.83,-0.75), rotation=pi, x_reflection=True))
comparator.add(gdstk.Reference(xminn_cmp, (-0.61,-0.75), rotation=pi, x_reflection=True))
comparator.add(gdstk.Reference(xminp_cmp, (0.61,-0.75)))
comparator.add(gdstk.Reference(xml2_cmp, (1.83,-0.75)))
comparator.add(gdstk.Reference(xml3_cmp, (-0.535,9.75), rotation=pi))
comparator.add(gdstk.Reference(xm3_cmp, (5.665,9.75), rotation=pi))
comparator.add(gdstk.Reference(xm4_cmp, (6.735,9.75), x_reflection=True))
comparator.add(gdstk.Reference(xm1_cmp, (-6.735,9.75), rotation=pi))
comparator.add(gdstk.Reference(xm2_cmp, (-5.665,9.75), x_reflection=True))
comparator.add(gdstk.Reference(xml4_cmp, (0.535,9.75), x_reflection=True))
comparator.add(gdstk.Reference(trim, (-16.5,1.875), rotation=3*pi/2, x_reflection=True))
comparator.add(gdstk.Reference(trim, (16.5,1.875), rotation=3*pi/2))
comparator.add(gdstk.Label('trim1', (-39.5,-14.93), layer=36, texttype=10))
comparator.add(gdstk.Label('trim0', (-41,-14.93), layer=36, texttype=10))
comparator.add(gdstk.Label('trim2', (-42.5,-14.93), layer=36, texttype=10))
comparator.add(gdstk.Label('trim3', (-44,-14.93), layer=36, texttype=10))
comparator.add(gdstk.Label('trim4', (-37.99,-14.895), layer=36, texttype=10))
comparator.add(gdstk.Label('trimb4', (38,-14.93), layer=36, texttype=10))
comparator.add(gdstk.Label('trimb1', (39.5,-14.93), layer=36, texttype=10))
comparator.add(gdstk.Label('trimb0', (41,-14.93), layer=36, texttype=10))
comparator.add(gdstk.Label('trimb2', (42.5,-14.93), layer=36, texttype=10))
comparator.add(gdstk.Label('trimb3', (44,-14.93), layer=36, texttype=10))
comparator.add(gdstk.Label('vp', (9.35,15.95), layer=36, texttype=10))
comparator.add(gdstk.Label('vn', (-9.35,15.95), layer=36, texttype=10))
comparator.add(gdstk.Label('outp', (3.55,-11.55), layer=36, texttype=10))
comparator.add(gdstk.Label('outn', (-3.55,-11.55), layer=36, texttype=10))
comparator.add(gdstk.Label('diff', (0,-3.25), layer=34, texttype=10))
comparator.add(gdstk.Label('in', (-8,-3.3), layer=34, texttype=10))
comparator.add(gdstk.Label('ip', (8,-3.3), layer=34, texttype=10))
comparator.add(gdstk.Label('clkc', (-0.01,-12.5), layer=34, texttype=10))
comparator.add(gdstk.Label('vss', (-45.5,-15.19), layer=46, texttype=10))
comparator.add(gdstk.Label('vdd', (-7.7,12.24), layer=42, texttype=10))

lib.write_gds('comparator.gds')
